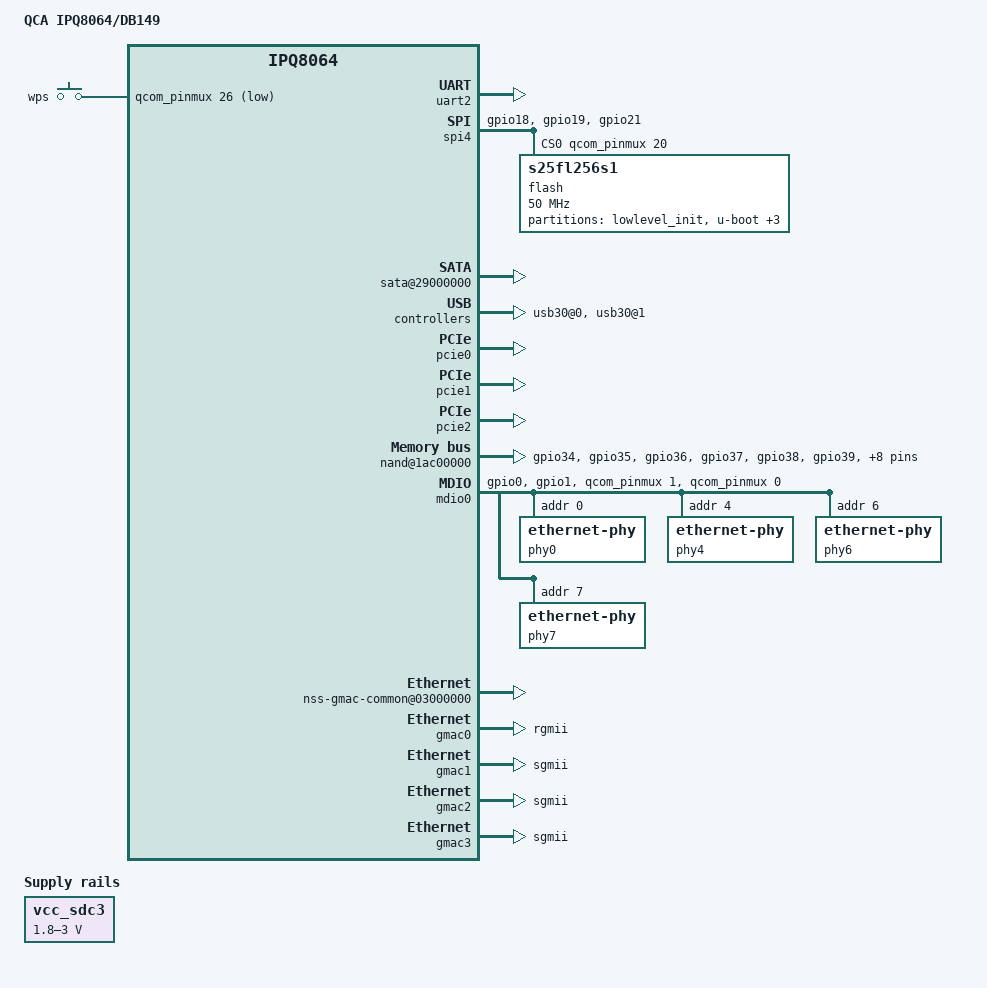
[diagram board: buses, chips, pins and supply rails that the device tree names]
/* Copyright (c) 2015-2017, The Linux Foundation. All rights reserved.
 *
 * Permission to use, copy, modify, and/or distribute this software for any
 * purpose with or without fee is hereby granted, provided that the above
 * copyright notice and this permission notice appear in all copies.
 *
 * THE SOFTWARE IS PROVIDED "AS IS" AND THE AUTHOR DISCLAIMS ALL WARRANTIES
 * WITH REGARD TO THIS SOFTWARE INCLUDING ALL IMPLIED WARRANTIES OF
 * MERCHANTABILITY AND FITNESS. IN NO EVENT SHALL THE AUTHOR BE LIABLE FOR
 * ANY SPECIAL, DIRECT, INDIRECT, OR CONSEQUENTIAL DAMAGES OR ANY DAMAGES
 * WHATSOEVER RESULTING FROM LOSS OF USE, DATA OR PROFITS, WHETHER IN AN
 * ACTION OF CONTRACT, NEGLIGENCE OR OTHER TORTIOUS ACTION, ARISING OUT OF
 * OR IN CONNECTION WITH THE USE OR PERFORMANCE OF THIS SOFTWARE.
 */

#include <dt-bindings/interrupt-controller/arm-gic.h>
#include <dt-bindings/interrupt-controller/irq.h>
#include <dt-bindings/input/input.h>
#include <dt-bindings/gpio/gpio.h>

/ {
	model = "QCA IPQ8064/DB149";
	compatible = "qcom,ipq8064-db149", "qcom,ipq8064";

	reserved-memory {
		#address-cells = <1>;
		#size-cells = <1>;
		ranges;
		rsvd@41200000 {
			reg = <0x41200000 0x300000>;
			no-map;
		};
	};

	aliases {
		serial0 = &uart2;
		mdio-gpio0 = &mdio0;
		/*
		 * U-Boot searches for these entries and patches
		 * 'local-mac-address'
		 */
		ethernet0 = &gmac0;
		ethernet1 = &gmac1;
		ethernet2 = &gmac2;
		ethernet3 = &gmac3;
	};

	chosen {
		linux,stdout-path = "serial0:115200n8";
	};

	soc {
		pinmux@800000 {
			spi_pins: spi_pins {
				mux {
					pins = "gpio18", "gpio19", "gpio21";
					function = "gsbi5";
					drive-strength = <10>;
					bias-none;
				};
			};

			nand_pins: nand_pins {
				mux {
					pins = "gpio34", "gpio35", "gpio36",
					       "gpio37", "gpio38", "gpio39",
					       "gpio40", "gpio41", "gpio42",
					       "gpio43", "gpio44", "gpio45",
					       "gpio46", "gpio47";
					function = "nand";
					drive-strength = <10>;
					bias-disable;
				};
				pullups {
					pins = "gpio39";
					bias-pull-up;
				};
				hold {
					pins = "gpio40", "gpio41", "gpio42",
					       "gpio43", "gpio44", "gpio45",
					       "gpio46", "gpio47";
					bias-bus-hold;
				};
			};

			mdio0_pins: mdio0_pins {
				mux {
					pins = "gpio0", "gpio1";
					function = "gpio";
					drive-strength = <8>;
					bias-disable;
				};
			};

			rgmii0_pins: rgmii0_pins {
				mux {
					pins = "gpio2", "gpio66";
					drive-strength = <8>;
					bias-disable;
				};
			};

			sdcc1_pins: sdcc1_pinmux {
				mux {
					pins = "gpio38", "gpio39", "gpio40",
					       "gpio41", "gpio42", "gpio43",
					       "gpio44", "gpio45", "gpio46",
					       "gpio47";
					function = "sdc1";
				};
				cmd {
					pins = "gpio45";
					drive-strength = <10>;
					bias-pull-up;
				};
				data {
					pins = "gpio38", "gpio39", "gpio40",
					       "gpio41", "gpio43", "gpio44",
					       "gpio46", "gpio47";
					drive-strength = <10>;
					bias-pull-up;
				};
				clk {
					pins = "gpio42";
					drive-strength = <16>;
					bias-pull-down;
				};
				card_det {
					pins = "gpio51";
					drive-strength = <2>;
					bias-pull-up;
				};
			};

			sdcc3_pins: sdcc3_pinmux {
				mux {
					pins = "gpio52";
					drive-strength = <2>;
					bias-pull-down;
				};
				card_det {
					pins = "gpio61";
					drive-strength = <16>;
					bias-pull-none;
				};
			};

			buttons_pins: buttons_pinmux {
				mux {
					pins = "gpio26";
					drive-strength = <2>;
					bias-pull-up;
				};
			};
		};

		gsbi2: gsbi@12480000 {
			qcom,mode = <GSBI_PROT_I2C_UART>;
			status = "ok";
			uart2: serial@12490000 {
				status = "ok";
			};
		};

		gsbi5: gsbi@1a200000 {
			qcom,mode = <GSBI_PROT_SPI>;
			status = "ok";

			spi4: spi@1a280000 {
				status = "ok";
				spi-max-frequency = <50000000>;

				pinctrl-0 = <&spi_pins>;
				pinctrl-names = "default";

				cs-gpios = <&qcom_pinmux 20 0>;

				flash: m25p80@0 {
					compatible = "s25fl256s1";
					#address-cells = <1>;
					#size-cells = <1>;
					spi-max-frequency = <50000000>;
					reg = <0>;
					m25p,fast-read;

					partition@0 {
						label = "lowlevel_init";
						reg = <0x0 0x1b0000>;
					};

					partition@1 {
						label = "u-boot";
						reg = <0x1b0000 0x80000>;
					};

					partition@2 {
						label = "u-boot-env";
						reg = <0x230000 0x40000>;
					};

					partition@3 {
						label = "caldata";
						reg = <0x270000 0x40000>;
					};

					partition@4 {
						label = "firmware";
						reg = <0x2b0000 0x1d50000>;
					};
				};
			};
		};

		sata-phy@1b400000 {
			status = "ok";
		};

		sata@29000000 {
			status = "ok";
		};

		phy@100f8800 {		/* USB3 port 1 HS phy */
			status = "ok";
		};

		phy@100f8830 {		/* USB3 port 1 SS phy */
			status = "ok";
		};

		phy@110f8800 {		/* USB3 port 0 HS phy */
			status = "ok";
		};

		phy@110f8830 {		/* USB3 port 0 SS phy */
			status = "ok";
		};

		usb30@0 {
			status = "ok";
		};

		usb30@1 {
			status = "ok";
		};

		pcie0: pci@1b500000 {
			status = "ok";
		};

		pcie1: pci@1b700000 {
			status = "ok";
		};

		pcie2: pci@1b900000 {
			status = "ok";
		};

		nand@1ac00000 {
			status = "ok";

			pinctrl-0 = <&nand_pins>;
			pinctrl-names = "default";

			nand-ecc-strength = <4>;
			nand-bus-width = <8>;
		};

		gpio_keys {
			compatible = "gpio-keys";
			pinctrl-0 = <&buttons_pins>;
			pinctrl-names = "default";
			button@1 {
				label = "wps";
				linux,code = <KEY_WPS_BUTTON>;
				gpios = <&qcom_pinmux 26 GPIO_ACTIVE_LOW>;
				linux,input-type = <1>;
				debounce-interval = <60>;
			};
		};

		vcc_sdc3: regulator@0 {
			compatible = "regulator-gpio";
			regulator-name = "SDC3 GPIO Regulator";
			regulator-min-microvolt = <1800000>;
			regulator-max-microvolt = <3000000>;

			gpios = <&qcom_pinmux 61 0>;
			states = <3000000 0
				1800000 1>;
			enable-active-high;
		};

		mdio0: mdio {
			compatible = "virtual,mdio-gpio";
			#address-cells = <1>;
			#size-cells = <0>;
			gpios = <&qcom_pinmux 1 0 &qcom_pinmux 0 0>;

			pinctrl-0 = <&mdio0_pins>;
			pinctrl-names = "default";

			phy0: ethernet-phy@0 {
				device_type = "ethernet-phy";
				reg = <0>;
				qca,ar8327-initvals = <
					0x00004 0x7600000   /* PAD0_MODE */
					0x00008 0x1000000   /* PAD5_MODE */
					0x0000c 0x80        /* PAD6_MODE */
					0x000e4 0xaa545     /* MAC_POWER_SEL */
					0x000e0 0xc74164de  /* SGMII_CTRL */
					0x0007c 0x4e        /* PORT0_STATUS */
					0x00094 0x4e        /* PORT6_STATUS */
				>;
			};

			phy4: ethernet-phy@4 {
				device_type = "ethernet-phy";
				reg = <4>;
			};

			phy6: ethernet-phy@6 {
				device_type = "ethernet-phy";
				reg = <6>;
			};

			phy7: ethernet-phy@7 {
				device_type = "ethernet-phy";
				reg = <7>;
			};
		};

		nss0: nss@40000000 {
			compatible = "qcom,nss";
			interrupts = <GIC_SPI 213 IRQ_TYPE_LEVEL_HIGH
				      GIC_SPI 232 IRQ_TYPE_LEVEL_HIGH>;
			reg = <0x36000000 0x1000 0x39000000 0x10000>;
			reg-names = "nphys", "vphys";
			clocks = <&gcc NSS_CORE_CLK>, <&gcc NSSTCM_CLK_SRC>,
				 <&gcc NSSTCM_CLK>, <&nss_fabric0_clk>,
				 <&nss_fabric1_clk>;
			clock-names = "nss-core-clk", "nss-tcm-src",
				      "nss-tcm-clk", "nss-fab0-clk",
				      "nss-fab1-clk";
			resets = <&gcc UBI32_CORE1_CLKRST_CLAMP_RESET>,
				 <&gcc UBI32_CORE1_CLAMP_RESET>,
				 <&gcc UBI32_CORE1_AHB_RESET>,
				 <&gcc UBI32_CORE1_AXI_RESET>;
			reset-names = "clkrst-clamp", "clamp", "ahb", "axi";
			qcom,id = <0>;
			qcom,num-irq = <2>;
			qcom,num-queue = <2>;
			qcom,load-addr = <0x40000000>;
			qcom,turbo-frequency;

			qcom,ipv4-enabled;
			qcom,ipv6-enabled;
			qcom,wlanredirect-enabled;
			qcom,tun6rd-enabled;
			qcom,l2tpv2-enabled;
			qcom,gre-enabled;
			qcom,map-t-enabled;
			qcom,portid-enabled;
			qcom,pppoe-enabled;
			qcom,pptp-enabled;
			qcom,tunipip6-enabled;
			qcom,shaping-enabled;
			qcom,wlan-dataplane-offload-enabled;
		};

		nss1: nss@40800000 {
			compatible = "qcom,nss";
			interrupts = <GIC_SPI 214 IRQ_TYPE_LEVEL_HIGH
				      GIC_SPI 233 IRQ_TYPE_LEVEL_HIGH>;
			reg = <0x36400000 0x1000 0x39010000 0x10000>;
			reg-names = "nphys", "vphys";
			resets = <&gcc UBI32_CORE2_CLKRST_CLAMP_RESET>,
				 <&gcc UBI32_CORE2_CLAMP_RESET>,
				 <&gcc UBI32_CORE2_AHB_RESET>,
				 <&gcc UBI32_CORE2_AXI_RESET>;
			reset-names = "clkrst-clamp", "clamp", "ahb", "axi";
			qcom,id = <1>;
			qcom,num-irq = <2>;
			qcom,num-queue = <2>;
			qcom,load-addr = <0x40800000>;
			qcom,turbo-frequency;

			qcom,capwap-enabled;
			qcom,crypto-enabled;
			qcom,dtls-enabled;
			qcom,ipsec-enabled;
		};

		nss-gmac-common@03000000 {
			compatible = "qcom,nss-gmac-common";
			reg = <0x03000000 0x0000FFFF 0x1bb00000
			       0x0000FFFF 0x00900000 0x00004000>;
			reg-names = "nss_reg_base" , "qsgmii_reg_base",
				    "clk_ctl_base";
		};

		gmac0: ethernet@37000000 {
			status = "ok";
			device_type = "network";
			compatible = "qcom,nss-gmac";
			reg = <0x37000000 0x200000>;
			interrupts = <GIC_SPI 220 IRQ_TYPE_LEVEL_HIGH>;
			phy-mode = "rgmii";
			qcom,id = <0>;
			qcom,pcs-chanid = <0>;
			qcom,phy-mdio-addr = <4>;
			qcom,poll-required = <1>;
			qcom,rgmii-delay = <1>;
			qcom,emulation = <0>;
			qcom,forced-speed = <1000>;
			qcom,forced-duplex = <1>;
			qcom,mmds-mask = <0>;
			qcom,socver = <0>;
			local-mac-address = [000000000000];
			mdiobus = <&mdio0>;
		};

		gmac1: ethernet@37200000 {
			status = "ok";
			device_type = "network";
			compatible = "qcom,nss-gmac";
			reg = <0x37200000 0x200000>;
			interrupts = <GIC_SPI 223 IRQ_TYPE_LEVEL_HIGH>;
			phy-mode = "sgmii";
			qcom,id = <1>;
			qcom,pcs-chanid = <1>;
			qcom,phy-mdio-addr = <0>;
			qcom,poll-required = <0>;
			qcom,rgmii-delay = <0>;
			qcom,emulation = <0>;
			qcom,forced-speed = <1000>;
			qcom,forced-duplex = <1>;
			qcom,mmds-mask = <0>;
			qcom,socver = <0>;
			local-mac-address = [000000000000];
			mdiobus = <&mdio0>;
		};

		gmac2: ethernet@37400000 {
			status = "ok";
			device_type = "network";
			compatible = "qcom,nss-gmac";
			reg = <0x37400000 0x200000>;
			interrupts = <GIC_SPI 226 IRQ_TYPE_LEVEL_HIGH>;
			phy-mode = "sgmii";
			qcom,id = <2>;
			qcom,pcs-chanid = <2>;
			qcom,phy-mdio-addr = <6>;
			qcom,poll-required = <1>;
			qcom,rgmii-delay = <0>;
			qcom,emulation = <0>;
			qcom,forced-speed = <0>;
			qcom,forced-duplex = <0xFF>;
			qcom,mmds-mask = <0>;
			qcom,socver = <0>;
			local-mac-address = [000000000000];
			mdiobus = <&mdio0>;
		};

		gmac3: ethernet@37600000 {
			status = "ok";
			device_type = "network";
			compatible = "qcom,nss-gmac";
			reg = <0x37600000 0x200000>;
			interrupts = <GIC_SPI 229 IRQ_TYPE_LEVEL_HIGH>;
			phy-mode = "sgmii";
			qcom,id = <3>;
			qcom,pcs-chanid = <3>;
			qcom,phy-mdio-addr = <7>;
			qcom,poll-required = <1>;
			qcom,rgmii-delay = <0>;
			qcom,emulation = <0>;
			qcom,forced-speed = <0>;
			qcom,forced-duplex = <0xFF>;
			qcom,mmds-mask = <0>;
			qcom,socver = <0>;
			local-mac-address = [000000000000];
			mdiobus = <&mdio0>;
		};

		crypto1: crypto@38000000 {
			compatible = "qcom,nss-crypto";
			reg-names = "crypto_pbase", "bam_base";
			reg = <0x38000000 0x20000>,
			    <0x38004000 0x22000>;
			resets = <&gcc CRYPTO_ENG1_RESET>,
				 <&gcc CRYPTO_AHB_RESET>;
			reset-names = "rst_eng", "rst_ahb";
			clocks = <&gcc CE5_CORE_CLK>, <&gcc CE5_A_CLK>,
				<&gcc CE5_H_CLK>;
			clock-names = "ce5_core", "ce5_aclk", "ce5_hclk";
			qcom,ee = <0>;
		};

		crypto2: crypto@38400000 {
			compatible = "qcom,nss-crypto";
			reg-names = "crypto_pbase", "bam_base";
			reg = <0x38400000 0x20000>,
			    <0x38404000 0x22000>;
			resets = <&gcc CRYPTO_ENG2_RESET>;
			reset-names = "rst_eng";
			qcom,ee = <0>;
		};

		crypto3: crypto@38800000 {
			compatible = "qcom,nss-crypto";
			reg-names = "crypto_pbase", "bam_base";
			reg = <0x38800000 0x20000>,
			    <0x38804000 0x22000>;
			resets = <&gcc CRYPTO_ENG3_RESET>;
			reset-names = "rst_eng";
			qcom,ee = <0>;
		};

		crypto4: crypto@38C00000 {
			compatible = "qcom,nss-crypto";
			reg-names = "crypto_pbase", "bam_base";
			reg = <0x38C00000 0x20000>,
			    <0x38C04000 0x22000>;
			resets = <&gcc CRYPTO_ENG4_RESET>;
			reset-names = "rst_eng";
			qcom,ee = <0>;
		};
	};

	amba {
		/* eMMC */
		sdcc@12400000 {
			status = "disabled";
			pinctrl-0 = <&sdcc1_pins>;
			pinctrl-names = "default";
		};

		/* External micro SD card */
		sdcc@12180000 {
			status = "ok";
			pinctrl-0 = <&sdcc3_pins>;
			pinctrl-names = "default";
			vmmc-supply = <&vcc_sdc3>;
			cd-gpios  = <&qcom_pinmux 52 0>;
			cd-inverted;
			qcom-uhs-gpio = <61>;
		};
	};
};

&adm_dma {
	status = "ok";
};
